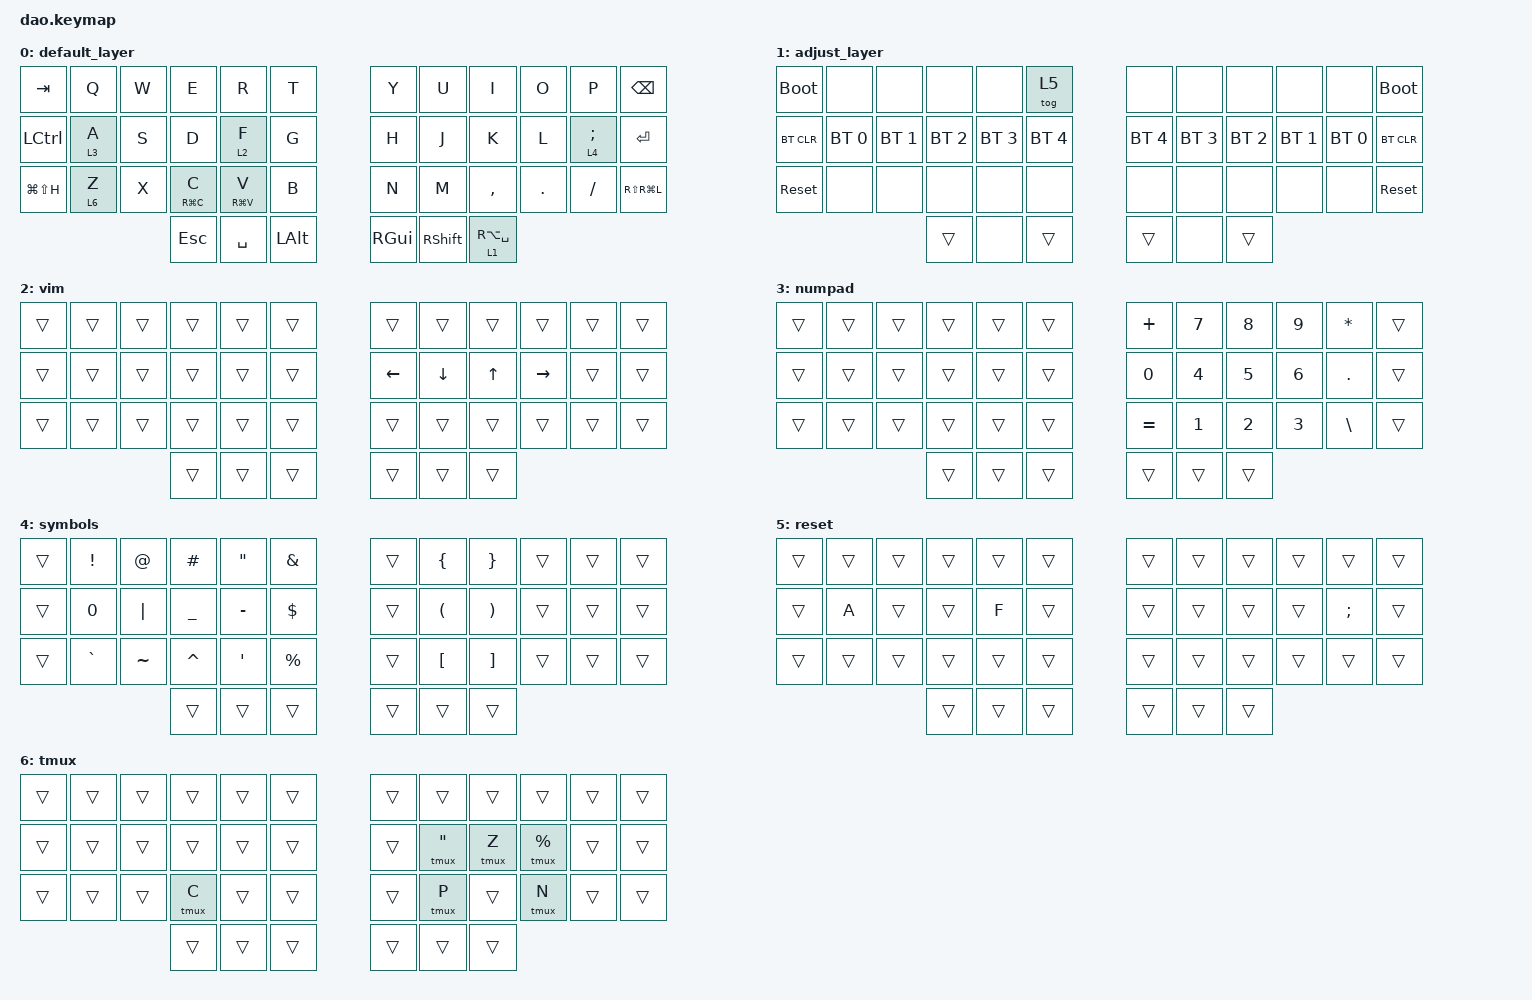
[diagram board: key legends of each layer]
/*
 * Copyright (c) 2021 Rafael Yumagulov
 *
 * SPDX-License-Identifier: MIT
 */

#include <behaviors.dtsi>
#include <dt-bindings/zmk/bt.h>
#include <dt-bindings/zmk/keys.h>

#define DEF 0
#define LWR 1
#define RSE 2
#define ADJ 3

&lt { quick_tap_ms = <200>; };

&mt {
    quick_tap_ms = <200>;
    flavor = "tap-preferred";
};

/ {
    chosen {
        zmk,matrix_transform = &default_transform;

        // zmk,matrix_transform = &extra_keys_transform;
    };
};

/ {
    macros {
        tmux: tmux {
            compatible = "zmk,behavior-macro-one-param";
            #binding-cells = <1>;
            bindings =
                <&macro_press>,
                <&kp LEFT_CONTROL>,
                <&macro_tap>,
                <&kp B>,
                <&macro_release>,
                <&kp LEFT_CONTROL &macro_param_1to1>,
                <&macro_tap>,
                <&kp MACRO_PLACEHOLDER>;

            label = "TMUX";
        };
    };

    keymap {
        compatible = "zmk,keymap";

        default_layer {
            bindings = <
&kp TAB        &kp Q    &kp W  &kp E        &kp R        &kp T         &kp Y          &kp U      &kp I            &kp O    &kp P       &kp BACKSPACE
&kp LCTRL      &lt 3 A  &kp S  &kp D        &lt 2 F      &kp G         &kp H          &kp J      &kp K            &kp L    &lt 4 SEMI  &kp ENTER
&kp LG(LS(H))  &lt 6 Z  &kp X  &mt RG(C) C  &mt RG(V) V  &kp B         &kp N          &kp M      &kp COMMA        &kp DOT  &kp FSLH    &kp RS(RG(L))
                               &kp ESCAPE   &kp SPACE    &kp LEFT_ALT  &kp RIGHT_GUI  &kp RSHFT  &lt 1 RA(SPACE)
            >;
        };

        adjust_layer {
            bindings = <
&bootloader  &none         &none         &none         &none         &tog 5        &none         &none         &none         &none         &none         &bootloader
&bt BT_CLR   &bt BT_SEL 0  &bt BT_SEL 1  &bt BT_SEL 2  &bt BT_SEL 3  &bt BT_SEL 4  &bt BT_SEL 4  &bt BT_SEL 3  &bt BT_SEL 2  &bt BT_SEL 1  &bt BT_SEL 0  &bt BT_CLR
&sys_reset   &none         &none         &none         &none         &none         &none         &none         &none         &none         &none         &sys_reset
                                         &trans        &none         &trans        &trans        &none         &trans
            >;
        };

        vim {
            bindings = <
&trans  &trans  &trans  &trans  &trans  &trans  &trans    &trans    &trans  &trans     &trans  &trans
&trans  &trans  &trans  &trans  &trans  &trans  &kp LEFT  &kp DOWN  &kp UP  &kp RIGHT  &trans  &trans
&trans  &trans  &trans  &trans  &trans  &trans  &trans    &trans    &trans  &trans     &trans  &trans
                        &trans  &trans  &trans  &trans    &trans    &trans
            >;
        };

        numpad {
            bindings = <
&trans  &trans  &trans  &trans  &trans  &trans  &kp PLUS      &kp NUMBER_7  &kp NUMBER_8  &kp NUMBER_9  &kp ASTERISK   &trans
&trans  &trans  &trans  &trans  &trans  &trans  &kp NUMBER_0  &kp NUMBER_4  &kp NUMBER_5  &kp NUMBER_6  &kp DOT        &trans
&trans  &trans  &trans  &trans  &trans  &trans  &kp EQUAL     &kp NUMBER_1  &kp NUMBER_2  &kp NUMBER_3  &kp BACKSLASH  &trans
                        &trans  &trans  &trans  &trans        &trans        &trans
            >;
        };

        symbols {
            bindings = <
&trans  &kp EXCLAMATION  &kp AT     &kp HASH        &kp DOUBLE_QUOTES  &kp AMPERSAND  &trans  &kp LEFT_BRACE        &kp RIGHT_BRACE        &trans  &trans  &trans
&trans  &kp NUMBER_0     &kp PIPE   &kp UNDERSCORE  &kp MINUS          &kp DOLLAR     &trans  &kp LEFT_PARENTHESIS  &kp RIGHT_PARENTHESIS  &trans  &trans  &trans
&trans  &kp GRAVE        &kp TILDE  &kp CARET       &kp SINGLE_QUOTE   &kp PERCENT    &trans  &kp LEFT_BRACKET      &kp RIGHT_BRACKET      &trans  &trans  &trans
                                    &trans          &trans             &trans         &trans  &trans                &trans
            >;
        };

        reset {
            bindings = <
&trans  &trans  &trans  &trans  &trans  &trans  &trans  &trans  &trans  &trans  &trans         &trans
&trans  &kp A   &trans  &trans  &kp F   &trans  &trans  &trans  &trans  &trans  &kp SEMICOLON  &trans
&trans  &trans  &trans  &trans  &trans  &trans  &trans  &trans  &trans  &trans  &trans         &trans
                        &trans  &trans  &trans  &trans  &trans  &trans
            >;
        };

        tmux {
            bindings = <
&trans  &trans  &trans  &trans   &trans  &trans  &trans  &trans               &trans   &trans         &trans  &trans
&trans  &trans  &trans  &trans   &trans  &trans  &trans  &tmux DOUBLE_QUOTES  &tmux Z  &tmux PERCENT  &trans  &trans
&trans  &trans  &trans  &tmux C  &trans  &trans  &trans  &tmux P              &trans   &tmux N        &trans  &trans
                        &trans   &trans  &trans  &trans  &trans               &trans
            >;
        };
    };
};
